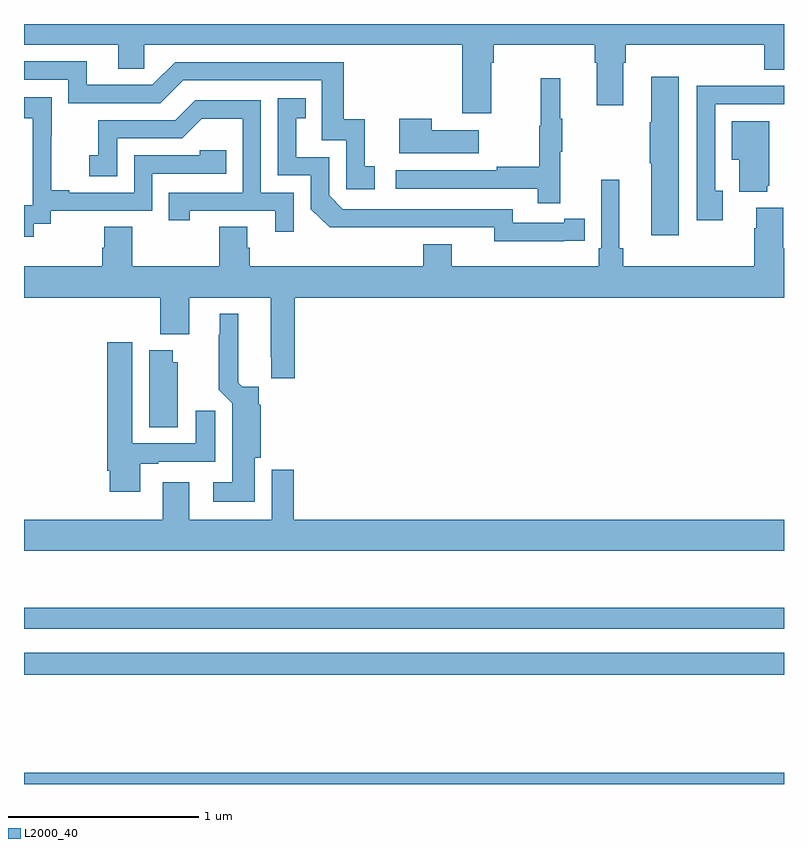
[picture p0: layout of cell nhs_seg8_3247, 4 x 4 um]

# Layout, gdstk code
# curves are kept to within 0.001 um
import gdstk
lib = gdstk.Library(unit=1e-6, precision=1e-09)
def R(c, l, rs):  # rectangles x0, y0, x1, y1
    for r in rs: c.add(gdstk.rectangle(r[:2], r[2:], *l))
def P(c, l, *ps):  # polygons
    for p in ps: c.add(gdstk.Polygon(p, *l))
L2000_40 = (2000, 40)

nhs_seg8_3247 = lib.new_cell('nhs_seg8_3247')
R(nhs_seg8_3247, L2000_40, [(311,1153.9,315,1153.96), (311,1154.476,315,1154.592), (311,1154.718,315,1154.827)])
P(nhs_seg8_3247, L2000_40, [(313.459,1157.696),(313.472,1157.696),(313.472,1157.792),(314.003,1157.792),(314.003,1157.696),(314.015,1157.696),(314.015,1157.472),(314.155,1157.472),(314.155,1157.696),(314.168,1157.696),(314.168,1157.792),(314.897,1157.792),(314.897,1157.659),(315,1157.659),(315,1157.9),(311,1157.9),(311,1157.792),(311.495,1157.792),(311.495,1157.665),(311.634,1157.665),(311.634,1157.792),(313.307,1157.792),(313.307,1157.43),(313.459,1157.43)],
  [(312.847,1157.151),(312.794,1157.151),(312.794,1157.398),(312.683,1157.398),(312.683,1157.7),(311.796,1157.7),(311.676,1157.58),(311.329,1157.58),(311.329,1157.703),(311,1157.703),(311,1157.607),(311.232,1157.607),(311.232,1157.484),(311.718,1157.484),(311.838,1157.604),(312.567,1157.604),(312.567,1157.289),(312.696,1157.289),(312.696,1157.031),(312.847,1157.031)],
  [(314.446,1157.623),(314.3,1157.623),(314.3,1157.384),(314.293,1157.384),(314.293,1157.167),(314.3,1157.167),(314.3,1156.788),(314.446,1156.788)],
  [(313.823,1157.227),(313.834,1157.227),(313.834,1157.401),(313.823,1157.401),(313.823,1157.614),(313.72,1157.614),(313.72,1157.364),(313.713,1157.364),(313.713,1157.15),(313.489,1157.15),(313.489,1157.13),(312.957,1157.13),(312.957,1157.034),(313.705,1157.034),(313.705,1156.956),(313.823,1156.956)],
  [(314.677,1157.022),(314.637,1157.022),(314.637,1157.478),(315,1157.478),(315,1157.574),(314.813,1157.574),(314.813,1157.576),(314.541,1157.576),(314.541,1156.866),(314.677,1156.866)],
  [(311.05,1156.849),(311.142,1156.849),(311.142,1156.917),(311.676,1156.917),(311.676,1157.112),(312.065,1157.112),(312.065,1157.235),(311.925,1157.235),(311.925,1157.208),(311.58,1157.208),(311.58,1157.013),(311.239,1157.013),(311.239,1157.026),(311.144,1157.026),(311.144,1157.309),(311.145,1157.309),(311.145,1157.515),(311,1157.515),(311,1157.405),(311.045,1157.405),(311.045,1157.177),(311.046,1157.177),(311.046,1156.947),(311,1156.947),(311,1156.779),(311.05,1156.779)],
  [(313.844,1156.758),(313.952,1156.758),(313.952,1156.874),(313.844,1156.874),(313.844,1156.854),(313.572,1156.854),(313.572,1156.926),(312.678,1156.926),(312.606,1156.998),(312.606,1157.199),(312.433,1157.199),(312.433,1157.403),(312.482,1157.403),(312.482,1157.509),(312.336,1157.509),(312.336,1157.103),(312.51,1157.103),(312.51,1156.926),(312.608,1156.829),(313.476,1156.83),(313.476,1156.757)],
  [(312.42,1157.013),(312.246,1157.013),(312.246,1157.499),(311.9,1157.499),(311.795,1157.394),(311.392,1157.394),(311.392,1157.209),(311.343,1157.209),(311.343,1157.1),(311.49,1157.1),(311.49,1157.298),(311.832,1157.298),(311.936,1157.402),(312.15,1157.402),(312.15,1157.013),(311.761,1157.013),(311.761,1156.866),(311.872,1156.866),(311.872,1156.917),(312.323,1156.917),(312.323,1156.806),(312.42,1156.806)],
  [(313.393,1157.341),(313.145,1157.341),(313.145,1157.401),(312.974,1157.401),(312.974,1157.219),(313.393,1157.219)],
  [(314.912,1157.049),(314.923,1157.049),(314.923,1157.389),(314.726,1157.389),(314.726,1157.186),(314.765,1157.186),(314.765,1157.018),(314.912,1157.018)],
  [(312.424,1156.46),(315,1156.46),(315,1156.72),(314.995,1156.72),(314.995,1156.933),(314.855,1156.933),(314.855,1156.826),(314.843,1156.826),(314.843,1156.624),(314.153,1156.624),(314.153,1156.72),(314.134,1156.72),(314.134,1157.08),(314.037,1157.08),(314.037,1156.72),(314.024,1156.72),(314.024,1156.624),(313.252,1156.624),(313.252,1156.741),(313.1,1156.741),(313.1,1156.624),(312.188,1156.624),(312.188,1156.722),(312.175,1156.722),(312.175,1156.832),(312.028,1156.832),(312.028,1156.624),(311.571,1156.624),(311.571,1156.832),(311.423,1156.832),(311.423,1156.722),(311.411,1156.722),(311.411,1156.624),(311,1156.624),(311,1156.46),(311.717,1156.46),(311.717,1156.268),(311.869,1156.268),(311.869,1156.46),(312.299,1156.46),(312.299,1156.147),(312.302,1156.147),(312.302,1156.035),(312.424,1156.035)],
  [(312.214,1155.618),(312.245,1155.618),(312.245,1155.893),(312.235,1155.902),(312.235,1155.99),(312.148,1155.99),(312.127,1156.012),(312.127,1156.375),(312.029,1156.375),(312.029,1156.265),(312.025,1156.265),(312.025,1155.974),(312.095,1155.904),(312.095,1155.487),(311.997,1155.487),(311.997,1155.386),(312.214,1155.386)],
  [(311.611,1155.585),(311.707,1155.585),(311.707,1155.597),(312.007,1155.597),(312.007,1155.865),(311.903,1155.865),(311.903,1155.693),(311.569,1155.693),(311.569,1156.225),(311.438,1156.225),(311.438,1155.55),(311.45,1155.55),(311.45,1155.438),(311.611,1155.438)],
  [(311.809,1156.119),(311.782,1156.119),(311.782,1156.183),(311.66,1156.183),(311.66,1155.778),(311.809,1155.778)],
  [(315,1155.292),(312.419,1155.292),(312.419,1155.553),(312.303,1155.553),(312.303,1155.292),(311.869,1155.292),(311.869,1155.487),(311.729,1155.487),(311.729,1155.292),(311,1155.292),(311,1155.128),(315,1155.128)])

lib.write_gds('nhs_seg8_3247.gds')
